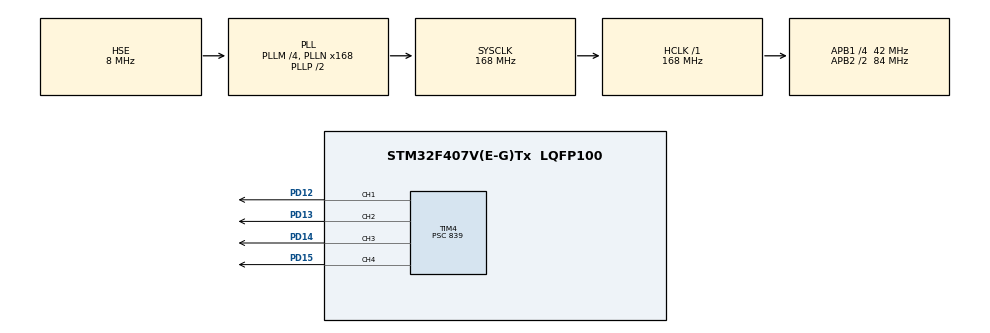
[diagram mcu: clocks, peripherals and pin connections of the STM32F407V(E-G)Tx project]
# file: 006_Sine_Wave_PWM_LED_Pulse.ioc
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Mcu.Family=STM32F4
Mcu.Name=STM32F407V(E-G)Tx
Mcu.Package=LQFP100
Mcu.UserConstants=SAMPLE_RANGE,1000
NVIC.PriorityGroup=NVIC_PRIORITYGROUP_4
NVIC.TIM4_IRQn=true\:0\:0\:false\:false\:true\:true\:true\:true
PA13.Mode=Trace_Asynchronous_SW
PA13.Signal=SYS_JTMS-SWDIO
PA14.Mode=Trace_Asynchronous_SW
PA14.Signal=SYS_JTCK-SWCLK
PB3.Mode=Trace_Asynchronous_SW
PB3.Signal=SYS_JTDO-SWO
PD12.Signal=S_TIM4_CH1
PD13.Signal=S_TIM4_CH2
PD14.Signal=S_TIM4_CH3
PD15.Signal=S_TIM4_CH4
PH0-OSC_IN.Mode=HSE-External-Oscillator
PH0-OSC_IN.Signal=RCC_OSC_IN
PH1-OSC_OUT.Mode=HSE-External-Oscillator
PH1-OSC_OUT.Signal=RCC_OSC_OUT
ProjectManager.HeapSize=0x200
ProjectManager.StackSize=0x400
ProjectManager.TargetToolchain=STM32CubeIDE
RCC.48MHZClocksFreq_Value=84000000
RCC.AHBFreq_Value=168000000
RCC.APB1CLKDivider=RCC_HCLK_DIV4
RCC.APB1Freq_Value=42000000
RCC.APB1TimFreq_Value=84000000
RCC.APB2CLKDivider=RCC_HCLK_DIV2
RCC.APB2Freq_Value=84000000
RCC.APB2TimFreq_Value=168000000
RCC.CortexFreq_Value=168000000
RCC.HCLKFreq_Value=168000000
RCC.HSE_VALUE=8000000
RCC.HSI_VALUE=16000000
RCC.LSE_VALUE=32768
RCC.PLLM=4
RCC.PLLN=168
RCC.PLLSourceVirtual=RCC_PLLSOURCE_HSE
RCC.SYSCLKFreq_VALUE=168000000
RCC.SYSCLKSource=RCC_SYSCLKSOURCE_PLLCLK
RCC.VCOOutputFreq_Value=336000000
SH.S_TIM4_CH1.0=TIM4_CH1,PWM Generation1 CH1
SH.S_TIM4_CH2.0=TIM4_CH2,PWM Generation2 CH2
SH.S_TIM4_CH3.0=TIM4_CH3,PWM Generation3 CH3
SH.S_TIM4_CH4.0=TIM4_CH4,PWM Generation4 CH4
TIM4.Channel-PWM\ Generation1\ CH1=TIM_CHANNEL_1
TIM4.Channel-PWM\ Generation2\ CH2=TIM_CHANNEL_2
TIM4.Channel-PWM\ Generation3\ CH3=TIM_CHANNEL_3
TIM4.Channel-PWM\ Generation4\ CH4=TIM_CHANNEL_4
TIM4.Period=SAMPLE_RANGE - 1
TIM4.Prescaler=839
VP_TIM4_VS_ClockSourceINT.Mode=Internal
board=custom

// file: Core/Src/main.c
/* USER CODE BEGIN Header */
/**
  ******************************************************************************
  * @file           : main.c
  * @brief          : Main program body
  ******************************************************************************
  * @attention
  *
  * Copyright (c) 2025 STMicroelectronics.
  * All rights reserved.
  *
  * This software is licensed under terms that can be found in the LICENSE file
  * in the root directory of this software component.
  * If no LICENSE file comes with this software, it is provided AS-IS.
  *
  ******************************************************************************
  */
/* USER CODE END Header */
#include "main.h"

/* USER CODE BEGIN Includes */

#include <stdio.h>
#include <math.h>

/* USER CODE END Includes */

/* USER CODE BEGIN PTD */

#define SAMPLE_DELAY 10
#define SAMPLE_FREQ (1000 / SAMPLE_DELAY)
#define SAMPLE_MID (SAMPLE_RANGE / 2)

/* USER CODE END PTD */

TIM_HandleTypeDef htim4;

/* USER CODE BEGIN PV */

uint32_t cb_cnt = 0;

uint32_t led_channel[] = {
  TIM_CHANNEL_1,
  TIM_CHANNEL_2,
  TIM_CHANNEL_3,
  TIM_CHANNEL_4
};

float angles[] = {
  0,
  0,
  0,
  0
};

float angle_change[] = {
  1 * (2 * M_PI / SAMPLE_FREQ),
  2 * (2 * M_PI / SAMPLE_FREQ),
  0.5 * (2 * M_PI / SAMPLE_FREQ),
  0.11 * (2 * M_PI / SAMPLE_FREQ)
};

/* USER CODE END PV */

void SystemClock_Config(void);
static void MX_GPIO_Init(void);
static void MX_TIM4_Init(void);

/* USER CODE BEGIN 0 */

int _write(int file, char *ptr, int len) {
  for (int i = 0; i < len; i++) {
    ITM_SendChar(*ptr++);
  }
  return len;
}

inline uint32_t HAL_GetTick() {
  return uwTick;
}

inline void HAL_TIM_PWM_PulseFinishedCallback(TIM_HandleTypeDef *htim) {
  if (htim -> Instance == TIM4) {
    for (int i = 0; i < sizeof(angles) / sizeof(angles[0]); i++) {
        angles[i] += angle_change[i];
        if (angles[i] >= 2 * M_PI) {
          angles[i] -= 2 * M_PI;
        }

        __HAL_TIM_SET_COMPARE(&htim4, led_channel[i], SAMPLE_MID - (SAMPLE_MID * sin(angles[i])));
      }

    ++cb_cnt;
  }
}

/* USER CODE END 0 */

int main(void)
{

  /* MCU Configuration--------------------------------------------------------*/

  /* Reset of all peripherals, Initializes the Flash interface and the Systick. */
  HAL_Init();

  /* Configure the system clock */
  SystemClock_Config();

  /* Initialize all configured peripherals */
  MX_GPIO_Init();
  MX_TIM4_Init();
  /* USER CODE BEGIN 2 */

  printf("\n\n\n\n------------\nStarting pwm2\n");

  printf("Starting timer channels\n");
  HAL_TIM_PWM_Start_IT(&htim4, TIM_CHANNEL_1);
  HAL_TIM_PWM_Start(&htim4, TIM_CHANNEL_2);
  HAL_TIM_PWM_Start(&htim4, TIM_CHANNEL_3);
  HAL_TIM_PWM_Start(&htim4, TIM_CHANNEL_4);

  /* USER CODE END 2 */

  /* Infinite loop */
  /* USER CODE BEGIN WHILE */

  uint16_t pwm_value = 0;
  int8_t pwm_change = 1;

  uint32_t now = 0, loop_cnt = 0, next_tick = 1000, next_change = 0, next_sample = SAMPLE_DELAY;

  while (1)
  {

    now = HAL_GetTick();

    if (now >= next_tick) {
      printf("Tick %lu (loop = %lu cb = %lu)\n", now / 1000, loop_cnt, cb_cnt);

      loop_cnt = 0;
      next_tick = now + 1000;
    }

    // if (now >= next_change) {
    //   __HAL_TIM_SET_COMPARE(&htim4, TIM_CHANNEL_1, pwm_value);
    //   __HAL_TIM_SET_COMPARE(&htim4, TIM_CHANNEL_2, pwm_value);
    //   __HAL_TIM_SET_COMPARE(&htim4, TIM_CHANNEL_3, pwm_value);
    //   __HAL_TIM_SET_COMPARE(&htim4, TIM_CHANNEL_4, pwm_value);
    //
    //   pwm_value += pwm_change;
    //
    //   if (pwm_value == 0) {
    //     pwm_change = 1;
    //   }
    //
    //   if (pwm_value == 1000) {
    //     pwm_change = -1;
    //   }
    //
    //   next_change = now + 2;
    // }

    // if (now >= next_sample) {
    //
    //   for (int i = 0; i < sizeof(angles) / sizeof(angles[0]); i++) {
    //     angles[i] += angle_change[i];
    //     if (angles[i] >= 2 * M_PI) {
    //       angles[i] -= 2 * M_PI;
    //     }
    //
    //     __HAL_TIM_SET_COMPARE(&htim4, led_channel[i], SAMPLE_MID - (SAMPLE_MID * sin(angles[i])));
    //   }
    //   next_sample = now + SAMPLE_DELAY;
    // }

    ++loop_cnt;

    /* USER CODE END WHILE */

  }
}

void SystemClock_Config(void)
{
  RCC_OscInitTypeDef RCC_OscInitStruct = {0};
  RCC_ClkInitTypeDef RCC_ClkInitStruct = {0};

  /** Configure the main internal regulator output voltage
  */
  __HAL_RCC_PWR_CLK_ENABLE();
  __HAL_PWR_VOLTAGESCALING_CONFIG(PWR_REGULATOR_VOLTAGE_SCALE1);

  /** Initializes the RCC Oscillators according to the specified parameters
  * in the RCC_OscInitTypeDef structure.
  */
  RCC_OscInitStruct.OscillatorType = RCC_OSCILLATORTYPE_HSE;
  RCC_OscInitStruct.HSEState = RCC_HSE_ON;
  RCC_OscInitStruct.PLL.PLLState = RCC_PLL_ON;
  RCC_OscInitStruct.PLL.PLLSource = RCC_PLLSOURCE_HSE;
  RCC_OscInitStruct.PLL.PLLM = 4;
  RCC_OscInitStruct.PLL.PLLN = 168;
  RCC_OscInitStruct.PLL.PLLP = RCC_PLLP_DIV2;
  RCC_OscInitStruct.PLL.PLLQ = 4;
  if (HAL_RCC_OscConfig(&RCC_OscInitStruct) != HAL_OK)
  {
    Error_Handler();
  }

  /** Initializes the CPU, AHB and APB buses clocks
  */
  RCC_ClkInitStruct.ClockType = RCC_CLOCKTYPE_HCLK|RCC_CLOCKTYPE_SYSCLK
                              |RCC_CLOCKTYPE_PCLK1|RCC_CLOCKTYPE_PCLK2;
  RCC_ClkInitStruct.SYSCLKSource = RCC_SYSCLKSOURCE_PLLCLK;
  RCC_ClkInitStruct.AHBCLKDivider = RCC_SYSCLK_DIV1;
  RCC_ClkInitStruct.APB1CLKDivider = RCC_HCLK_DIV4;
  RCC_ClkInitStruct.APB2CLKDivider = RCC_HCLK_DIV2;

  if (HAL_RCC_ClockConfig(&RCC_ClkInitStruct, FLASH_LATENCY_5) != HAL_OK)
  {
    Error_Handler();
  }
}

static void MX_TIM4_Init(void)
{

  TIM_ClockConfigTypeDef sClockSourceConfig = {0};
  TIM_MasterConfigTypeDef sMasterConfig = {0};
  TIM_OC_InitTypeDef sConfigOC = {0};

  htim4.Instance = TIM4;
  htim4.Init.Prescaler = 839;
  htim4.Init.CounterMode = TIM_COUNTERMODE_UP;
  htim4.Init.Period = SAMPLE_RANGE - 1;
  htim4.Init.ClockDivision = TIM_CLOCKDIVISION_DIV1;
  htim4.Init.AutoReloadPreload = TIM_AUTORELOAD_PRELOAD_DISABLE;
  if (HAL_TIM_Base_Init(&htim4) != HAL_OK)
  {
    Error_Handler();
  }
  sClockSourceConfig.ClockSource = TIM_CLOCKSOURCE_INTERNAL;
  if (HAL_TIM_ConfigClockSource(&htim4, &sClockSourceConfig) != HAL_OK)
  {
    Error_Handler();
  }
  if (HAL_TIM_PWM_Init(&htim4) != HAL_OK)
  {
    Error_Handler();
  }
  sMasterConfig.MasterOutputTrigger = TIM_TRGO_RESET;
  sMasterConfig.MasterSlaveMode = TIM_MASTERSLAVEMODE_DISABLE;
  if (HAL_TIMEx_MasterConfigSynchronization(&htim4, &sMasterConfig) != HAL_OK)
  {
    Error_Handler();
  }
  sConfigOC.OCMode = TIM_OCMODE_PWM1;
  sConfigOC.Pulse = 0;
  sConfigOC.OCPolarity = TIM_OCPOLARITY_HIGH;
  sConfigOC.OCFastMode = TIM_OCFAST_DISABLE;
  if (HAL_TIM_PWM_ConfigChannel(&htim4, &sConfigOC, TIM_CHANNEL_1) != HAL_OK)
  {
    Error_Handler();
  }
  if (HAL_TIM_PWM_ConfigChannel(&htim4, &sConfigOC, TIM_CHANNEL_2) != HAL_OK)
  {
    Error_Handler();
  }
  if (HAL_TIM_PWM_ConfigChannel(&htim4, &sConfigOC, TIM_CHANNEL_3) != HAL_OK)
  {
    Error_Handler();
  }
  if (HAL_TIM_PWM_ConfigChannel(&htim4, &sConfigOC, TIM_CHANNEL_4) != HAL_OK)
  {
    Error_Handler();
  }
  HAL_TIM_MspPostInit(&htim4);

}

static void MX_GPIO_Init(void)
{

  /* GPIO Ports Clock Enable */
  __HAL_RCC_GPIOH_CLK_ENABLE();
  __HAL_RCC_GPIOD_CLK_ENABLE();
  __HAL_RCC_GPIOA_CLK_ENABLE();
  __HAL_RCC_GPIOB_CLK_ENABLE();

}

void Error_Handler(void)
{
  __disable_irq();
  while (1)
  {
  }
}
